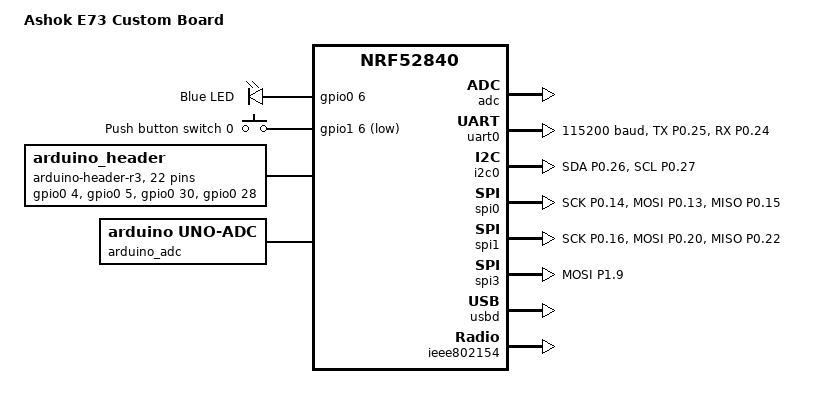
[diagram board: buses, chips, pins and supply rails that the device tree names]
/*
 * Copyright (c) 2025 Ashok Subedi
 *
 * SPDX-License-Identifier: MIT
 */

/dts-v1/;
#include <nordic/nrf52840_qiaa.dtsi>
#include <zephyr/dt-bindings/led/led.h>

/ {
	model = "Ashok E73 Custom Board";
	compatible = "ashok,e73-board";

	chosen {
		zephyr,code-partition = &code_partition;
		zephyr,sram = &sram0;
		zephyr,flash = &flash0;
		zephyr,console = &cdc_acm_uart;
		zephyr,ieee802154 = &ieee802154;
	};

	leds {
		compatible = "gpio-leds";
		blue_led: led_0 {
			gpios = <&gpio0 6 GPIO_ACTIVE_HIGH>;
			label = "Blue LED";
		};
	};

	/* Node name must match original "buttons" label */
	buttons {
		compatible = "gpio-keys";
		button0: button_0 {
			gpios = <&gpio1 6 (GPIO_PULL_UP | GPIO_ACTIVE_LOW)>;
			label = "Push button switch 0";
		};
	};

	arduino_header: connector {
		compatible = "arduino-header-r3";
		#gpio-cells = <2>;
		gpio-map-mask = <0xffffffff 0xffffffc0>;
		gpio-map-pass-thru = <0 0x3f>;
		gpio-map = <0 0 &gpio0 4 0>,	/* A0 */
			   <1 0 &gpio0 5 0>,	/* A1 */
			   <2 0 &gpio0 30 0>,	/* A2 */
			   <3 0 &gpio0 28 0>,	/* A3 */
			   <4 0 &gpio0 2 0>,	/* A4 */
			   <5 0 &gpio0 3 0>,	/* A5 */
			   <6 0 &gpio0 8 0>,	/* D0 */
			   <7 0 &gpio0 6 0>,	/* D1 */
			   <8 0 &gpio0 26 0>,	/* D2 */
			   <9 0 &gpio0 4 0>,	/* D3 */
			   <10 0 &gpio0 12 0>,	/* D4 */
			   <11 0 &gpio0 7 0>,	/* D5 */
			   <12 0 &gpio1 9 0>,	/* D6 */
			   <13 0 &gpio0 24 0>,	/* D7 */
			   <14 0 &gpio0 22 0>,	/* D8 */
			   <15 0 &gpio0 20 0>,	/* D9 */
			   <16 0 &gpio1 0 0>,	/* D10 */
			   <17 0 &gpio1 2 0>,	/* D11 */
			   <18 0 &gpio1 4 0>,	/* D12 */
			   <19 0 &gpio0 17 0>,	/* D13 */
			   <20 0 &gpio0 13 0>,	/* D14 */
			   <21 0 &gpio0 15 0>;	/* D15 */
	};

	arduino_adc: analog-connector {
		compatible = "arduino,uno-adc";
		#io-channel-cells = <1>;
		io-channel-map = <0 &adc 1>,	/* A0 = P0.04 = AIN1 */
				 <1 &adc 2>,	/* A1 = P0.05 = AIN2 */
				 <2 &adc 6>,	/* A2 = P0.30 = AIN6 */
				 <3 &adc 4>,	/* A3 = P0.28 = AIN4 */
				 <4 &adc 0>,	/* A4 = P0.02 = AIN0 */
				 <5 &adc 3>;	/* A5 = P0.03 = AIN3 */
	};
};

&adc {
	status = "okay";
};

&gpiote {
	status = "okay";
};

&gpio0 {
	status = "okay";
};

&gpio1 {
	status = "okay";
};

&uart0 {
	compatible = "nordic,nrf-uarte";
	status = "okay";
	current-speed = <115200>;
	pinctrl-0 = <&uart0_default>;
	pinctrl-1 = <&uart0_sleep>;
	pinctrl-names = "default", "sleep";
};

&i2c0 {
	compatible = "nordic,nrf-twi";
	status = "okay";
	pinctrl-0 = <&i2c0_default>;
	pinctrl-1 = <&i2c0_sleep>;
	pinctrl-names = "default", "sleep";
};

&spi0 {
	compatible = "nordic,nrf-spi";
	/* Cannot be used together with i2c0. */
	/* status = "okay"; */
	pinctrl-0 = <&spi0_default>;
	pinctrl-1 = <&spi0_sleep>;
	pinctrl-names = "default", "sleep";
};

&spi1 {
	compatible = "nordic,nrf-spi";
	status = "okay";
	pinctrl-0 = <&spi1_default>;
	pinctrl-1 = <&spi1_sleep>;
	pinctrl-names = "default", "sleep";
};

&spi3 {
	compatible = "nordic,nrf-spim";
	status = "okay";
	pinctrl-0 = <&spi3_default>;
	pinctrl-1 = <&spi3_sleep>;
	pinctrl-names = "default", "sleep";
};

&flash0 {
	partitions {
		compatible = "fixed-partitions";
		#address-cells = <1>;
		#size-cells = <1>;

		boot_partition: partition@0 {
			label = "mcuboot";
			reg = <0x00000000 0x0000C000>;
		};
		slot0_partition: partition@c000 {
			label = "image-0";
			reg = <0x0000C000 0x00067000>;
		};
		slot1_partition: partition@73000 {
			label = "image-1";
			reg = <0x00073000 0x00067000>;
		};
		scratch_partition: partition@da000 {
			label = "image-scratch";
			reg = <0x000da000 0x0001e000>;
		};

		/*
		 * The flash starting at 0x000f8000 and ending at
		 * 0x000fffff is reserved for use by the application.
		 */

		/*
		 * Storage partition will be used by FCB/LittleFS/NVS
		 * if enabled.
		 */
		storage_partition: partition@f8000 {
			label = "storage";
			reg = <0x000f8000 0x00008000>;
		};

		code_partition: partition@100000 {
			label = "adafruit_boot";
			reg = <0x00100000 0x00100000>;
		};
	};
};

&usbd {
	compatible = "nordic,nrf-usbd";
	status = "okay";
	cdc_acm_uart: cdc_acm_uart {
		compatible = "zephyr,cdc-acm-uart";
	};
};

&ieee802154 {
	status = "okay";
};

&pinctrl {
	uart0_default: uart0_default {
		group1 {
			psels = <NRF_PSEL(UART_TX, 0, 25)>,
				<NRF_PSEL(UART_RX, 0, 24)>;
		};
	};

	uart0_sleep: uart0_sleep {
		group1 {
			psels = <NRF_PSEL(UART_TX, 0, 25)>,
				<NRF_PSEL(UART_RX, 0, 24)>;
			low-power-enable;
		};
	};

	i2c0_default: i2c0_default {
		group1 {
			psels = <NRF_PSEL(TWIM_SDA, 0, 26)>,
				<NRF_PSEL(TWIM_SCL, 0, 27)>;
		};
	};

	i2c0_sleep: i2c0_sleep {
		group1 {
			psels = <NRF_PSEL(TWIM_SDA, 0, 26)>,
				<NRF_PSEL(TWIM_SCL, 0, 27)>;
			low-power-enable;
		};
	};

	spi0_default: spi0_default {
		group1 {
			psels = <NRF_PSEL(SPIM_SCK, 0, 14)>,
				<NRF_PSEL(SPIM_MOSI, 0, 13)>,
				<NRF_PSEL(SPIM_MISO, 0, 15)>;
		};
	};

	spi0_sleep: spi0_sleep {
		group1 {
			psels = <NRF_PSEL(SPIM_SCK, 0, 14)>,
				<NRF_PSEL(SPIM_MOSI, 0, 13)>,
				<NRF_PSEL(SPIM_MISO, 0, 15)>;
			low-power-enable;
		};
	};

	spi1_default: spi1_default {
		group1 {
			psels = <NRF_PSEL(SPIM_SCK, 0, 16)>,
				<NRF_PSEL(SPIM_MOSI, 0, 20)>,
				<NRF_PSEL(SPIM_MISO, 0, 22)>;
		};
	};

	spi1_sleep: spi1_sleep {
		group1 {
			psels = <NRF_PSEL(SPIM_SCK, 0, 16)>,
				<NRF_PSEL(SPIM_MOSI, 0, 20)>,
				<NRF_PSEL(SPIM_MISO, 0, 22)>;
			low-power-enable;
		};
	};

	spi3_default: spi3_default {
		group1 {
			psels = <NRF_PSEL(SPIM_MOSI, 1, 9)>; /* Pin 41 from your schematic */
		};
	};

	spi3_sleep: spi3_sleep {
		group1 {
			psels = <NRF_PSEL(SPIM_MOSI, 1, 9)>; /* Pin 41 from your schematic */
			low-power-enable;
		};
	};
};
